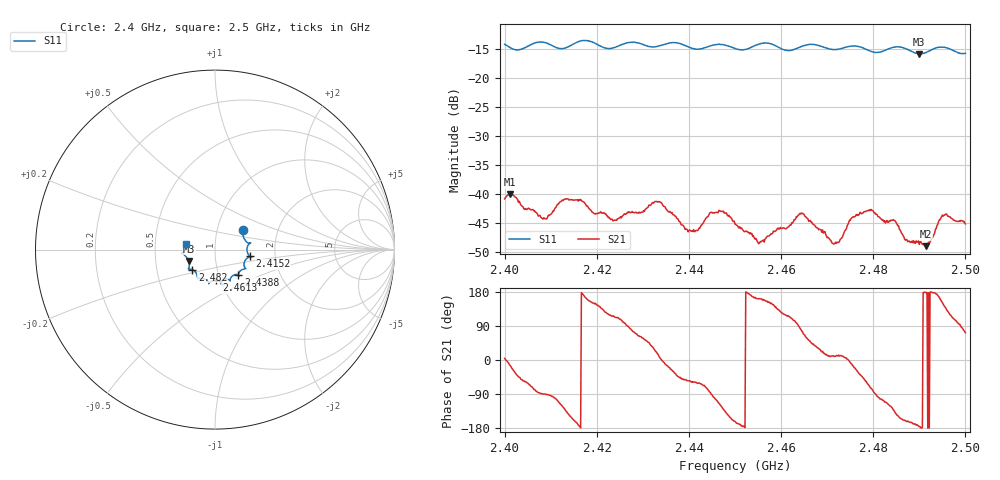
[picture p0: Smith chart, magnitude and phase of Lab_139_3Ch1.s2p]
# Hz S RI R 50
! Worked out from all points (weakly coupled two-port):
!   601 points, 2.4 GHz to 2.5 GHz, reference 50 ohm
!   highest |S21| = -40.02 dB at 2.4012 GHz (marker M1); lowest = -49.0 dB at 2.4915 GHz (marker M2)
!   lowest |S11| = -15.9 dB at 2.49 GHz (marker M3), VSWR 1.38, Z = 36.9 - j4.86 ohm
!   |S11| at or under -10 dB: start of sweep to end of sweep
!   S12 and S22 are empty: the file has one direction only
!   S11 on the Smith chart (normalised r, x): 2.4 GHz: 1.33, +0.31; 2.4152 GHz: 1.47, -0.11; 2.4388 GHz: 1.24, -0.36; 2.4613 GHz: 0.96, -0.34; 2.482 GHz: 0.76, -0.17; 2.5 GHz: 0.72, +0.05
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2.4e9  0.158 0.1116  0.00906 0.000657  0 0  0 0
2.401167e9  0.1556 0.0939  0.00968 -0.00243  0 0  0 0
2.408667e9  0.1975 0.0372  2.74e-05 -0.00613  0 0  0 0
2.415167e9  0.1934 -0.0375  -0.00831 -0.00307  0 0  0 0
2.416667e9  0.2031 -0.0436  -0.0088 0.000354  0 0  0 0
2.423833e9  0.1616 -0.0826  -0.0024 0.00546  0 0  0 0
2.433333e9  0.1324 -0.1317  0.00834 0.00219  0 0  0 0
2.438833e9  0.1296 -0.141  0.00328 -0.00418  0 0  0 0
2.447e9  0.0843 -0.1738  -0.00372 -0.00604  0 0  0 0
2.45e9  0.0687 -0.1646  -0.00525 -0.00165  0 0  0 0
2.455333e9  0.0348 -0.1922  -0.00361 0.00121  0 0  0 0
2.461333e9  0.00812 -0.171  -0.00225 0.00462  0 0  0 0
2.464333e9  -0.0295 -0.1826  0.00124 0.00662  0 0  0 0
2.466667e9  -0.0346 -0.1905  0.00412 0.00399  0 0  0 0
2.4715e9  -0.06 -0.1636  0.00367 0.000623  0 0  0 0
2.476667e9  -0.0968 -0.1589  0.00569 -0.00347  0 0  0 0
2.482e9  -0.126 -0.1113  -0.00164 -0.0057  0 0  0 0
2.483333e9  -0.1398 -0.1086  -0.00267 -0.00507  0 0  0 0
2.49e9  -0.1468 -0.0641  -0.00368 -0.000268  0 0  0 0
2.4915e9  -0.1596 -0.0419  -0.00356 0.00011  0 0  0 0
2.495333e9  -0.1818 -0.0191  -0.00532 0.00388  0 0  0 0
2.5e9  -0.1588 0.0324  0.00172 0.00526  0 0  0 0
